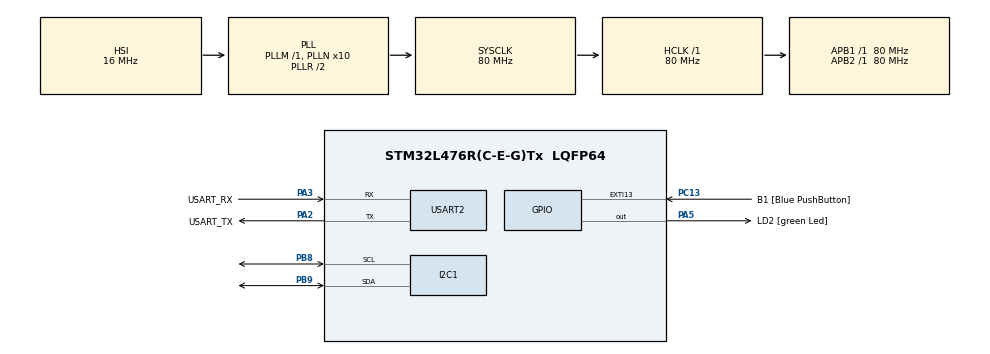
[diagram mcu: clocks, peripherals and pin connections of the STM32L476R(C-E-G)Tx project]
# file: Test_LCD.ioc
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I2C1.Timing=0x10909CEC
Mcu.Family=STM32L4
Mcu.Name=STM32L476R(C-E-G)Tx
Mcu.Package=LQFP64
NVIC.PriorityGroup=NVIC_PRIORITYGROUP_4
PA13\ (JTMS-SWDIO).GPIO_Label=TMS
PA13\ (JTMS-SWDIO).Mode=Serial_Wire
PA13\ (JTMS-SWDIO).Signal=SYS_JTMS-SWDIO
PA14\ (JTCK-SWCLK).GPIO_Label=TCK
PA14\ (JTCK-SWCLK).Mode=Serial_Wire
PA14\ (JTCK-SWCLK).Signal=SYS_JTCK-SWCLK
PA2.GPIO_Label=USART_TX
PA2.GPIO_Mode=GPIO_MODE_AF_PP
PA2.GPIO_PuPd=GPIO_NOPULL
PA2.GPIO_Speed=GPIO_SPEED_FREQ_VERY_HIGH
PA2.Mode=Asynchronous
PA2.Signal=USART2_TX
PA3.GPIO_Label=USART_RX
PA3.GPIO_Mode=GPIO_MODE_AF_PP
PA3.GPIO_PuPd=GPIO_NOPULL
PA3.GPIO_Speed=GPIO_SPEED_FREQ_VERY_HIGH
PA3.Mode=Asynchronous
PA3.Signal=USART2_RX
PA5.GPIO_Label=LD2 [green Led]
PA5.GPIO_ModeDefaultOutputPP=GPIO_MODE_OUTPUT_PP
PA5.GPIO_PuPd=GPIO_NOPULL
PA5.GPIO_Speed=GPIO_SPEED_FREQ_LOW
PA5.Signal=GPIO_Output
PB3\ (JTDO-TRACESWO).GPIO_Label=SWO
PB3\ (JTDO-TRACESWO).Signal=SYS_JTDO-SWO
PB8.Mode=I2C
PB8.Signal=I2C1_SCL
PB9.Mode=I2C
PB9.Signal=I2C1_SDA
PC13.GPIO_Label=B1 [Blue PushButton]
PC13.GPIO_ModeDefaultEXTI=GPIO_MODE_IT_FALLING
PC13.GPIO_PuPd=GPIO_NOPULL
PC13.Signal=GPXTI13
PC14-OSC32_IN\ (PC14).Mode=LSE-External-Oscillator
PC14-OSC32_IN\ (PC14).Signal=RCC_OSC32_IN
PC15-OSC32_OUT\ (PC15).Mode=LSE-External-Oscillator
PC15-OSC32_OUT\ (PC15).Signal=RCC_OSC32_OUT
PH0-OSC_IN\ (PH0).Signal=RCC_OSC_IN
PH1-OSC_OUT\ (PH1).Signal=RCC_OSC_OUT
ProjectManager.HeapSize=0x200
ProjectManager.StackSize=0x400
ProjectManager.TargetToolchain=STM32CubeIDE
RCC.ADCFreq_Value=64000000
RCC.AHBFreq_Value=80000000
RCC.APB1Freq_Value=80000000
RCC.APB1TimFreq_Value=80000000
RCC.APB2Freq_Value=80000000
RCC.APB2TimFreq_Value=80000000
RCC.CortexFreq_Value=80000000
RCC.HCLKFreq_Value=80000000
RCC.HSE_VALUE=8000000
RCC.HSI_VALUE=16000000
RCC.MSI_VALUE=4000000
RCC.PLLN=10
RCC.PLLSourceVirtual=RCC_PLLSOURCE_HSI
RCC.PREFETCH_ENABLE=1
RCC.SYSCLKFreq_VALUE=80000000
RCC.SYSCLKSource=RCC_SYSCLKSOURCE_PLLCLK
RCC.USBFreq_Value=64000000
RCC.VCOOutputFreq_Value=160000000
USART2.VirtualMode-Asynchronous=VM_ASYNC
board=NUCLEO-L476RG

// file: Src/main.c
/* USER CODE BEGIN Header */
/**
  ******************************************************************************
  * @file           : main.c
  * @brief          : Main program body
  ******************************************************************************
  * @attention
  *
  * Copyright (c) 2023 STMicroelectronics.
  * All rights reserved.
  *
  * This software is licensed under terms that can be found in the LICENSE file
  * in the root directory of this software component.
  * If no LICENSE file comes with this software, it is provided AS-IS.
  *
  ******************************************************************************
  */
/* USER CODE END Header */
#include "main.h"
#include "i2c.h"
#include "usart.h"
#include "gpio.h"

/* USER CODE BEGIN Includes */
#include "lib_lcd.h"
#include "stdio.h"

/* USER CODE END Includes */

/* USER CODE BEGIN PTD */

static rgb_lcd lcdData;

/* USER CODE END PTD */

/* USER CODE BEGIN PD */

//#define BMP280_ADDRESS      0x77   // Adresse I2C du capteur BMP280
#define BMP280_TEMPERATURE_MSB_REG 0xFA   // Registre de température MSB
#define BMP280_TEMPERATURE_LSB_REG 0xFB   // Registre de température LSB
#define BMP280_TEMPERATURE_XLSB_REG 0xFC  // Registre de température XLSB
#define BMP280_CTRL_MEAS_REG 0xF4         // Registre de configuration de mesure
#define BMP280_TEMP_MEASUREMENT 0x2E      // Valeur de commande pour mesurer la température
#define BMP280_PRESS_MEASUREMENT 0x34     // Valeur de commande pour mesurer la pression

/* USER CODE END PD */

/* USER CODE BEGIN PV */

static const uint8_t BMP280_ADDR = 0x77 << 1; // ADDR BMP280
static const uint8_t ADDR_REG_TEMP = 0xf4; //Adresse du registre de contrôle de la mesure de température
unsigned short dig_T1, dig_P1;
signed short dig_T2, dig_T3, dig_P2, dig_P3, dig_P4, dig_P5, dig_P6, dig_P7, dig_P8, dig_P9;
float temperature, pressure, altitude, init_height;
signed long temperature_raw, pressure_raw;

/* USER CODE END PV */

void SystemClock_Config(void);

/* USER CODE BEGIN 0 */

void BMP280_get_calib_values(void)
{
	uint8_t rx_buff[24], starting_address=0x88;

	HAL_I2C_Master_Transmit(&hi2c1, BMP280_ADDR, &starting_address, 1, 10000);
	HAL_I2C_Master_Receive(&hi2c1, BMP280_ADDR, &rx_buff[0], 24, 10000);

	dig_T1=(rx_buff[0])+(rx_buff[1]<<8);
	dig_T2=(rx_buff[2])+(rx_buff[3]<<8);
	dig_T3=(rx_buff[4])+(rx_buff[5]<<8);
	dig_P1=(rx_buff[6])+(rx_buff[7]<<8);
	dig_P2=(rx_buff[8])+(rx_buff[9]<<8);
	dig_P3=(rx_buff[10])+(rx_buff[11]<<8);
	dig_P4=(rx_buff[12])+(rx_buff[13]<<8);
	dig_P5=(rx_buff[14])+(rx_buff[15]<<8);
	dig_P6=(rx_buff[16])+(rx_buff[17]<<8);
	dig_P7=(rx_buff[18])+(rx_buff[19]<<8);
	dig_P8=(rx_buff[20])+(rx_buff[21]<<8);
	dig_P9=(rx_buff[22])+(rx_buff[23]<<8);
}

/* USER CODE END 0 */

int main(void)
{

  /* MCU Configuration--------------------------------------------------------*/

  /* Reset of all peripherals, Initializes the Flash interface and the Systick. */
  HAL_Init();

  /* Configure the system clock */
  SystemClock_Config();

  /* Initialize all configured peripherals */
    MX_GPIO_Init();
    MX_USART2_UART_Init();
    MX_I2C1_Init();
    /* USER CODE BEGIN 2 */
    lcd_init(&hi2c1, &lcdData);
    reglagecouleur(255,0,0);
    clearlcd();

  /* USER CODE END 2 */

  /* Infinite loop */
  while (1)
  {

    /* USER CODE BEGIN 3 */

	  /*
	  uint8_t buf[2];
	  uint8_t mesure[2];

	  BMP280_get_calib_values();

	  buf[0] = 0xfb; // Adresse du registre LSB de la température
	  buf[1] = 0;
	  HAL_I2C_Master_Transmit(&hi2c1, BMP280_ADDR, buf, 2, 100);
	  HAL_I2C_Master_Receive(&hi2c1, BMP280_ADDR , mesure, 3, 100);
*/

	  BMP280_get_calib_values();

	  uint8_t buf[2];
	  buf[0] = ADDR_REG_TEMP;
	  buf[1] = 0x2e; // Valeur à écrire dans le registre pour lancer la mesure
	  float temperature;

	    // Écrire la valeur 0x2e dans le registre 0xf4 pour lancer la mesure de température
	  HAL_I2C_Master_Transmit(&hi2c1, BMP280_ADDR, buf, 2, 200);

	    // Attendre la fin de la mesure de température (conversion de l'ADC interne)

	    // Lire la température depuis les registres 0xfa et 0xfb
	  uint8_t mesure[6];
	  buf[0] = 0xf7; // Adresse du registre LSB de la température
	  HAL_I2C_Master_Transmit(&hi2c1, BMP280_ADDR , buf, 1, 100);
	  HAL_I2C_Master_Receive(&hi2c1, BMP280_ADDR , mesure, 6, 100);
	  int x;

	  volatile uint32_t temp[3];
	  temp[2]=mesure[3];
	  temp[1]=mesure[4];
	  temp[0]=mesure[5];
	  temperature_raw=(temp[2]<<12)+(temp[1]<<4)+(temp[0]>>4);

	  temp[2]=mesure[0];
	  temp[1]=mesure[1];
	  temp[0]=mesure[2];
	  pressure_raw=(temp[2]<<12)+(temp[1]<<4)+(temp[0]>>4);

	  double var1, var2;
	  var1=(((double)temperature_raw)/16384.0-((double)dig_T1)/1024.0)*((double)dig_T2);
	  var2=((((double)temperature_raw)/131072.0-((double)dig_T1)/8192.0)*(((double)temperature_raw)/131072.0-((double)dig_T1)/8192.0))*((double)dig_T3);
	  double t_fine = (int32_t)(var1+var2);
	  volatile	float T = (var1+var2)/5120.0;

	  x = T*100;
	  T=(float)x/100;
	  temperature = T;
	  char Data[10];
	  sprintf(Data,"T = %.2f C", temperature);

	  double var3, var4;
	  var3=((double)t_fine/2.0)-64000.0;
	  var4=var3*var3*((double)dig_P6)/32768.0;
	  var4=var4+var3*((double)dig_P5)*2.0;
	  var4=(var4/4.0)+(((double)dig_P4)*65536.0);
	  var3=(((double)dig_P3)*var3*var3/524288.0+((double)dig_P2)*var3)/524288.0;
	  var3=(1.0+var3/32768.0)*((double)dig_P1);
	  volatile	double p=1048576.0-(double)pressure_raw;
	  p=(p-(var4/4096.0))*6250.0/var3;
	  var3=((double)dig_P9)*p*p/2147483648.0;
	  var4=p*((double)dig_P8)/32768.0;
	  p=p+(var3+var4+((double)dig_P7))/16.0;
	  pressure=p/100;

	  char Data2[10];

	  sprintf(Data2,"P = %.2f Pa", pressure);

	  lcd_position(&hi2c1, 0, 0);
	  lcd_print(&hi2c1, Data);
	  lcd_position(&hi2c1, 0, 1);
	  lcd_print(&hi2c1, Data2);

	  HAL_Delay(200);

  }
  /* USER CODE END 3 */
}

void SystemClock_Config(void)
{
  RCC_OscInitTypeDef RCC_OscInitStruct = {0};
  RCC_ClkInitTypeDef RCC_ClkInitStruct = {0};

  /** Configure the main internal regulator output voltage
  */
  if (HAL_PWREx_ControlVoltageScaling(PWR_REGULATOR_VOLTAGE_SCALE1) != HAL_OK)
  {
    Error_Handler();
  }

  /** Initializes the RCC Oscillators according to the specified parameters
  * in the RCC_OscInitTypeDef structure.
  */
  RCC_OscInitStruct.OscillatorType = RCC_OSCILLATORTYPE_HSI;
  RCC_OscInitStruct.HSIState = RCC_HSI_ON;
  RCC_OscInitStruct.HSICalibrationValue = RCC_HSICALIBRATION_DEFAULT;
  RCC_OscInitStruct.PLL.PLLState = RCC_PLL_ON;
  RCC_OscInitStruct.PLL.PLLSource = RCC_PLLSOURCE_HSI;
  RCC_OscInitStruct.PLL.PLLM = 1;
  RCC_OscInitStruct.PLL.PLLN = 10;
  RCC_OscInitStruct.PLL.PLLP = RCC_PLLP_DIV7;
  RCC_OscInitStruct.PLL.PLLQ = RCC_PLLQ_DIV2;
  RCC_OscInitStruct.PLL.PLLR = RCC_PLLR_DIV2;
  if (HAL_RCC_OscConfig(&RCC_OscInitStruct) != HAL_OK)
  {
    Error_Handler();
  }

  /** Initializes the CPU, AHB and APB buses clocks
  */
  RCC_ClkInitStruct.ClockType = RCC_CLOCKTYPE_HCLK|RCC_CLOCKTYPE_SYSCLK
                              |RCC_CLOCKTYPE_PCLK1|RCC_CLOCKTYPE_PCLK2;
  RCC_ClkInitStruct.SYSCLKSource = RCC_SYSCLKSOURCE_PLLCLK;
  RCC_ClkInitStruct.AHBCLKDivider = RCC_SYSCLK_DIV1;
  RCC_ClkInitStruct.APB1CLKDivider = RCC_HCLK_DIV1;
  RCC_ClkInitStruct.APB2CLKDivider = RCC_HCLK_DIV1;

  if (HAL_RCC_ClockConfig(&RCC_ClkInitStruct, FLASH_LATENCY_4) != HAL_OK)
  {
    Error_Handler();
  }
}

void Error_Handler(void)
{
  __disable_irq();
  while (1)
  {
  }
}
